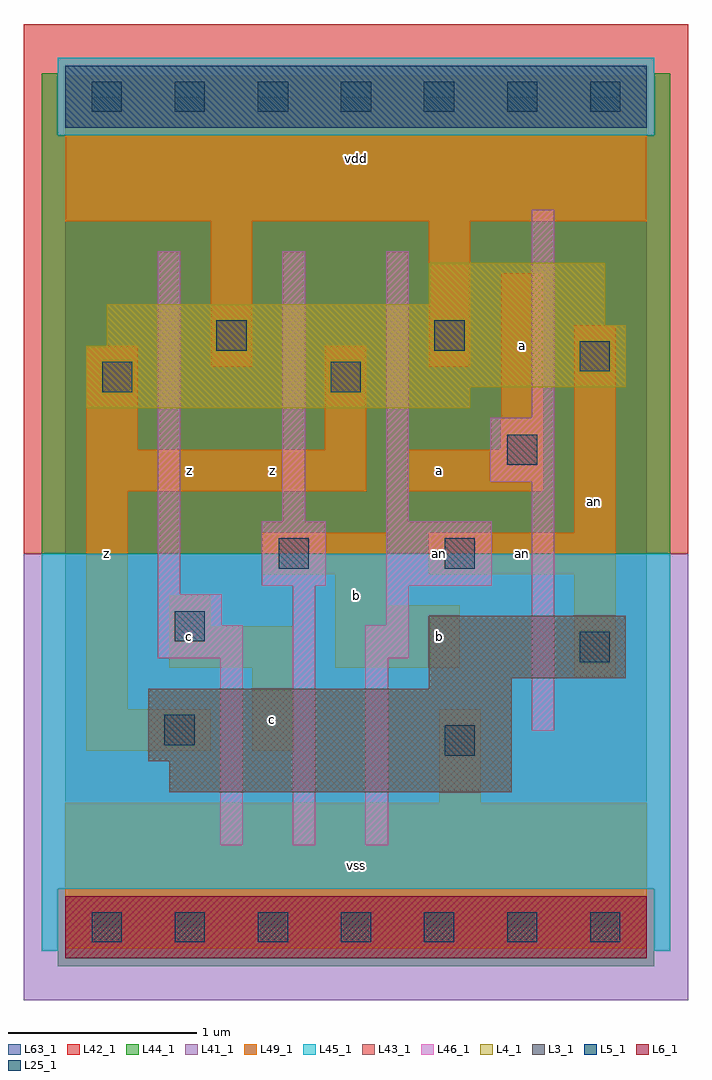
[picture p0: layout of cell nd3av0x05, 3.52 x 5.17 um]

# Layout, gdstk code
import gdstk
lib = gdstk.Library(unit=1e-6, precision=1e-09)
def R(c, l, rs):  # rectangles x0, y0, x1, y1
    for r in rs: c.add(gdstk.rectangle(r[:2], r[2:], *l))
def A(c, l, x, y, w, h, nx, ny, dx, dy):  # array of equal rectangles
    R(c, l, [(x+i*dx, y+j*dy, x+i*dx+w, y+j*dy+h) for i in range(nx) for j in range(ny)])
L3_1 = (3, 1)
L4_1 = (4, 1)
L5_1 = (5, 1)
L6_1 = (6, 1)
L25_1 = (25, 1)
L41_1 = (41, 1)
L42_1 = (42, 1)
L43_1 = (43, 1)
L44_1 = (44, 1)
L45_1 = (45, 1)
L46_1 = (46, 1)
L49_1 = (49, 1)
L63_1 = (63, 1)

nd3av0x05 = lib.new_cell('nd3av0x05')
R(nd3av0x05, L3_1, [(0.55,0.715,2.365,0.88), (0.44,0.88,2.365,1.265), (1.925,1.265,2.365,1.32), (1.925,1.32,2.97,1.65)])
R(nd3av0x05, L4_1, [(0.11,2.75,2.145,2.86), (0.11,2.86,2.97,3.08), (0.22,3.08,2.97,3.19), (0.22,3.19,2.86,3.3), (1.925,3.3,2.86,3.52)])
R(nd3av0x05, L5_1, [(0,4.235,3.08,4.565)])
R(nd3av0x05, L6_1, [(0,-0.165,3.08,0.165)])
A(nd3av0x05, L25_1, 0.14, -0.08, 0.16, 0.16, 7, 2, 0.44, 4.4)
R(nd3av0x05, L25_1, [(2.01,0.91,2.17,1.07), (0.525,0.965,0.685,1.125), (2.725,1.405,2.885,1.565), (0.58,1.515,0.74,1.675), (1.13,1.9,1.29,2.06), (2.01,1.9,2.17,2.06), (2.34,2.45,2.5,2.61), (0.195,2.835,0.355,2.995), (1.405,2.835,1.565,2.995), (2.725,2.945,2.885,3.105), (0.8,3.055,0.96,3.215), (1.955,3.055,2.115,3.215)])
R(nd3av0x05, L41_1, [(-0.22,-0.385,3.3,1.98)])
R(nd3av0x05, L42_1, [(-0.22,1.98,3.3,4.785)])
R(nd3av0x05, L43_1, [(0,-0.165,3.08,0.165), (0.55,0.715,2.365,0.88), (0.44,0.88,2.365,1.265), (1.925,1.265,2.365,1.32), (1.925,1.32,2.97,1.65), (0.11,2.75,2.145,2.86), (0.11,2.86,2.97,3.08), (0.22,3.08,2.97,3.19), (0.22,3.19,2.86,3.3), (1.925,3.3,2.86,3.52), (0,4.235,3.08,4.565)])
R(nd3av0x05, L44_1, [(-0.04,-0.205,3.12,0.205), (-0.125,1.98,3.205,4.195), (-0.125,4.195,-0.04,4.525), (3.12,4.195,3.205,4.525)])
R(nd3av0x05, L45_1, [(-0.125,-0.125,-0.04,0.205), (3.12,-0.125,3.205,0.205), (-0.125,0.205,3.205,1.98), (-0.04,4.195,3.12,4.605)])
R(nd3av0x05, L46_1, [(0.82,0.435,0.94,1.425), (1.205,0.435,1.325,1.81), (1.59,0.435,1.71,1.425), (2.47,1.04,2.59,2.36), (0.49,1.425,0.94,1.6), (1.59,1.425,1.82,1.6), (0.49,1.6,0.83,1.765), (1.7,1.6,1.82,1.81), (0.49,1.765,0.61,3.58), (1.04,1.81,1.38,2.15), (1.7,1.81,2.26,2.15), (1.15,2.15,1.27,3.58), (1.7,2.15,1.82,3.58), (2.25,2.36,2.59,2.7), (2.47,2.7,2.59,3.8)])
R(nd3av0x05, L49_1, [(0,-0.11,3.08,0.66), (1.98,0.66,2.2,1.155), (0.11,0.935,0.77,1.155), (0.99,0.935,1.21,1.375), (0.11,1.155,0.33,2.31), (2.695,1.32,2.915,1.87), (0.55,1.375,1.21,1.595), (1.43,1.375,2.09,1.705), (0.55,1.595,0.77,1.76), (1.43,1.705,1.705,1.87), (1.045,1.87,1.705,2.09), (1.925,1.87,2.915,2.09), (2.695,2.09,2.915,3.19), (0.11,2.31,1.595,2.53), (1.815,2.31,2.53,2.53), (0.11,2.53,0.385,3.08), (1.375,2.53,1.595,3.08), (2.31,2.53,2.53,3.465), (0.77,2.97,0.99,3.74), (1.925,2.97,2.145,3.74), (0,3.74,3.08,4.51)])
R(nd3av0x05, L63_1, [(0,0,3.08,4.4)])
nd3av0x05.add(gdstk.Label('an', (1.98,1.98), layer=46, texttype=1))
nd3av0x05.add(gdstk.Label('z', (0.22,1.98), layer=49, texttype=1))
nd3av0x05.add(gdstk.Label('c', (1.1,1.1), layer=49, texttype=1))
nd3av0x05.add(gdstk.Label('c', (0.66,1.54), layer=49, texttype=1))
nd3av0x05.add(gdstk.Label('z', (1.1,2.42), layer=49, texttype=1))
nd3av0x05.add(gdstk.Label('z', (0.66,2.42), layer=49, texttype=1))
nd3av0x05.add(gdstk.Label('vss', (1.54,0.33), layer=49, texttype=1))
nd3av0x05.add(gdstk.Label('b', (1.54,1.76), layer=49, texttype=1))
nd3av0x05.add(gdstk.Label('b', (1.98,1.54), layer=49, texttype=1))
nd3av0x05.add(gdstk.Label('a', (1.98,2.42), layer=49, texttype=1))
nd3av0x05.add(gdstk.Label('vdd', (1.54,4.07), layer=49, texttype=1))
nd3av0x05.add(gdstk.Label('an', (2.42,1.98), layer=49, texttype=1))
nd3av0x05.add(gdstk.Label('an', (2.805,2.255), layer=49, texttype=1))
nd3av0x05.add(gdstk.Label('a', (2.42,3.08), layer=49, texttype=1))

lib.write_gds('nd3av0x05.gds')
